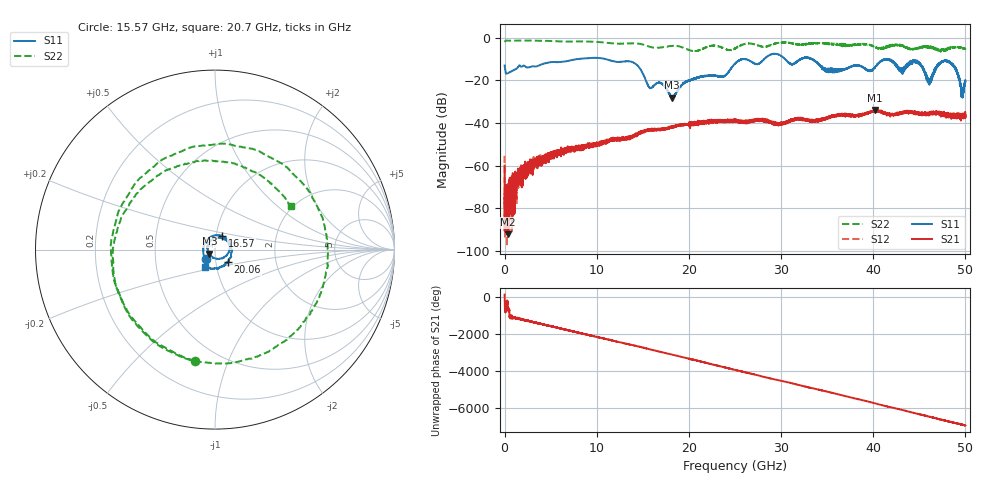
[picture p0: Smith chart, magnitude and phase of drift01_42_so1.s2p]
!Created with skrf (http://scikit-rf.org).
# Hz S RI R 50.0
!freq ReS11 ImS11 ReS21 ImS21 ReS12 ImS12 ReS22 ImS22
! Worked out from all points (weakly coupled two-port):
!   10001 points, 300 kHz to 50 GHz, reference 50 ohm
!   highest |S21| = -33.96 dB at 40.22 GHz (marker M1); lowest = -92.3 dB at 330.3 MHz (marker M2)
!   lowest |S11| = -28.2 dB at 18.14 GHz (marker M3), VSWR 1.08, Z = 46.9 - j2.13 ohm
!   |S11| at or under -10 dB: 10.89 GHz to 25.83 GHz (14.94 GHz wide, 81.4 % of centre); 33.27 GHz to 41.43 GHz (8.159 GHz wide, 21.8 % of centre); 41.6 GHz to end of sweep (the widest 3 of 16)
!   |S22| runs from -6.6 to -1.4 dB; largest |S21 - S12| = 0.0042
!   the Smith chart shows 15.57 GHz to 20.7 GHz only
!   S11 on the Smith chart (normalised r, x): 15.57 GHz: 0.90, -0.10; 16.57 GHz: 1.07, +0.16; 20.06 GHz: 1.14, -0.16; 20.7 GHz: 0.88, -0.17
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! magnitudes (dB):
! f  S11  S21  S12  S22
! 300 kHz  -13.1  -60.0  -55.5  -2.1
! 330.3 MHz  -16.8  -92.3  -76.3  -1.4
! 3.07 GHz  -13.4  -58.1  -58.7  -1.4
! 8.335 GHz  -9.9  -50.6  -52.8  -1.8
! 13.86 GHz  -11.5  -46.7  -46.5  -2.7
! 15.57 GHz  -22.5  -43.2  -43.5  -4.0
! 16.57 GHz  -21.3  -43.5  -43.4  -4.8
! 16.67 GHz  -21.2  -43.2  -43.3  -4.8
! 18.14 GHz  -28.2  -42.1  -41.9  -3.9
! 20.06 GHz  -20.1  -40.6  -40.5  -5.9
! 20.7 GHz  -19.1  -40.6  -40.0  -6.2
! 25 GHz  -12.2  -39.3  -39.5  -5.1
! 33.34 GHz  -10.1  -39.0  -38.8  -2.7
! 35.09 GHz  -15.2  -37.6  -37.5  -2.8
! 40.22 GHz  -13.7  -34.0  -34.3  -4.5
! 41.67 GHz  -10.4  -36.0  -36.1  -4.4
! 43.08 GHz  -14.8  -35.1  -35.4  -3.7
! 44.81 GHz  -11.4  -35.8  -35.3  -4.9
! 46.1 GHz  -22.0  -35.7  -35.3  -4.3
! 48.07 GHz  -11.1  -36.4  -36.9  -5.0
! 49.63 GHz  -26.2  -36.4  -36.1  -4.9
! 50 GHz  -20.8  -36.3  -36.9  -5.5
